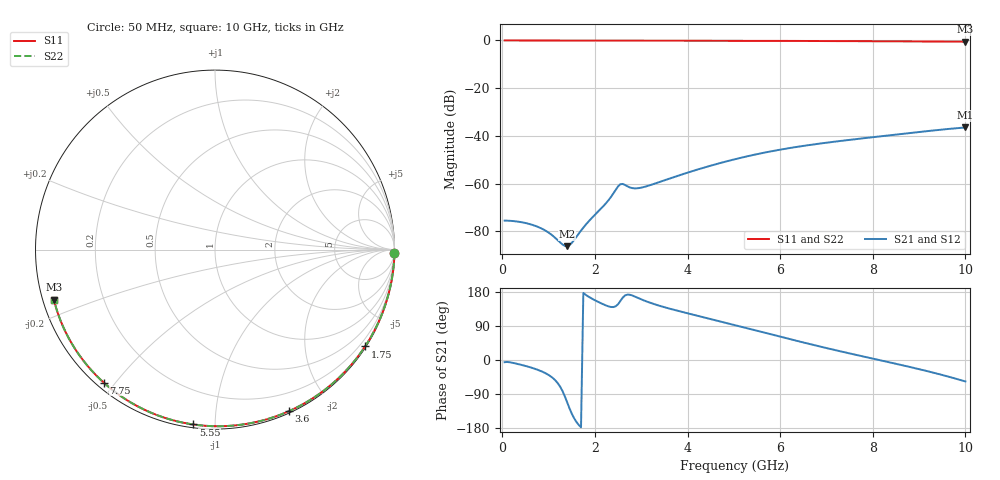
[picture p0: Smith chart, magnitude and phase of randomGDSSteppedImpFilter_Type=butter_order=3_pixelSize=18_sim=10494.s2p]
! freq	dB(S11)	phase(S11)	dB(S12)	phase(S12)
!  dB(S21)	phase(S21)	dB(S22)	phase(S22)
!S-par simulation data
#  GHz  S  DB  R 50
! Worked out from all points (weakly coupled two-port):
!   200 points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, 50 MHz to 10 GHz, reference 50 ohm
!   highest |S21| = -36.48 dB at 10 GHz (marker M1); lowest = -86.2 dB at 1.4 GHz (marker M2)
!   lowest |S11| = -0.5 dB at 10 GHz (marker M3), VSWR 32.41, Z = 1.58 - j7.58 ohm
!   |S11| at or under -10 dB: nowhere
!   |S22| runs from -0.5 to 0.0 dB; largest |S21 - S12| = 0
!   S11 on the Smith chart (normalised r, x): 50 MHz: open; 1.75 GHz: 0.03, -3.40; 3.6 GHz: 0.02, -1.55; 5.55 GHz: 0.02, -0.88; 7.75 GHz: 0.02, -0.47; 10 GHz: 0.03, -0.15
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0.05  -0.00 -1.0  -75.50 -5.8  -75.50 -5.8  -0.00 -1.0
0.55  -0.01 -10.5  -76.73 -17.4  -76.73 -17.4  -0.01 -10.5
0.95  -0.02 -18.0  -79.91 -36.0  -79.91 -36.0  -0.02 -18.0
1.4  -0.03 -26.4  -86.21 -111.4  -86.21 -111.4  -0.03 -26.4
1.65  -0.04 -31.0  -80.96 -171.2  -80.96 -171.2  -0.04 -31.0
1.7  -0.04 -31.9  -79.67 -177.7  -79.67 -177.7  -0.04 -31.9
1.75  -0.04 -32.8  -78.43 176.9  -78.43 176.9  -0.04 -32.8
2.25  -0.05 -41.9  -67.97 143.4  -67.97 143.4  -0.05 -41.9
2.5  -0.06 -46.4  -61.14 147.3  -61.14 147.3  -0.06 -46.4
2.55  -0.06 -47.3  -60.25 155.9  -60.25 155.9  -0.06 -47.3
2.8  -0.07 -51.7  -61.85 170.5  -61.85 170.5  -0.07 -51.7
2.9  -0.07 -53.4  -61.97 165.5  -61.97 165.5  -0.07 -53.4
3.4  -0.08 -62.1  -59.30 142.9  -59.30 142.9  -0.08 -62.1
3.6  -0.09 -65.5  -57.97 135.9  -57.97 135.9  -0.09 -65.5
4.3  -0.11 -77.2  -53.60 114.3  -53.60 114.3  -0.11 -77.2
5.05  -0.14 -89.3  -49.65 91.4  -49.65 91.4  -0.14 -89.3
5.55  -0.16 -97.1  -47.45 75.8  -47.45 75.8  -0.16 -97.1
6.7  -0.22 -114.5  -43.63 40.3  -43.63 40.3  -0.22 -114.5
7.75  -0.30 -129.9  -41.10 10.5  -41.10 10.5  -0.30 -129.9
8.35  -0.35 -138.6  -39.78 -5.8  -39.78 -5.8  -0.35 -138.6
9.2  -0.44 -150.9  -37.95 -30.1  -37.95 -30.1  -0.44 -150.9
10  -0.54 -162.7  -36.48 -56.6  -36.48 -56.6  -0.54 -162.7
